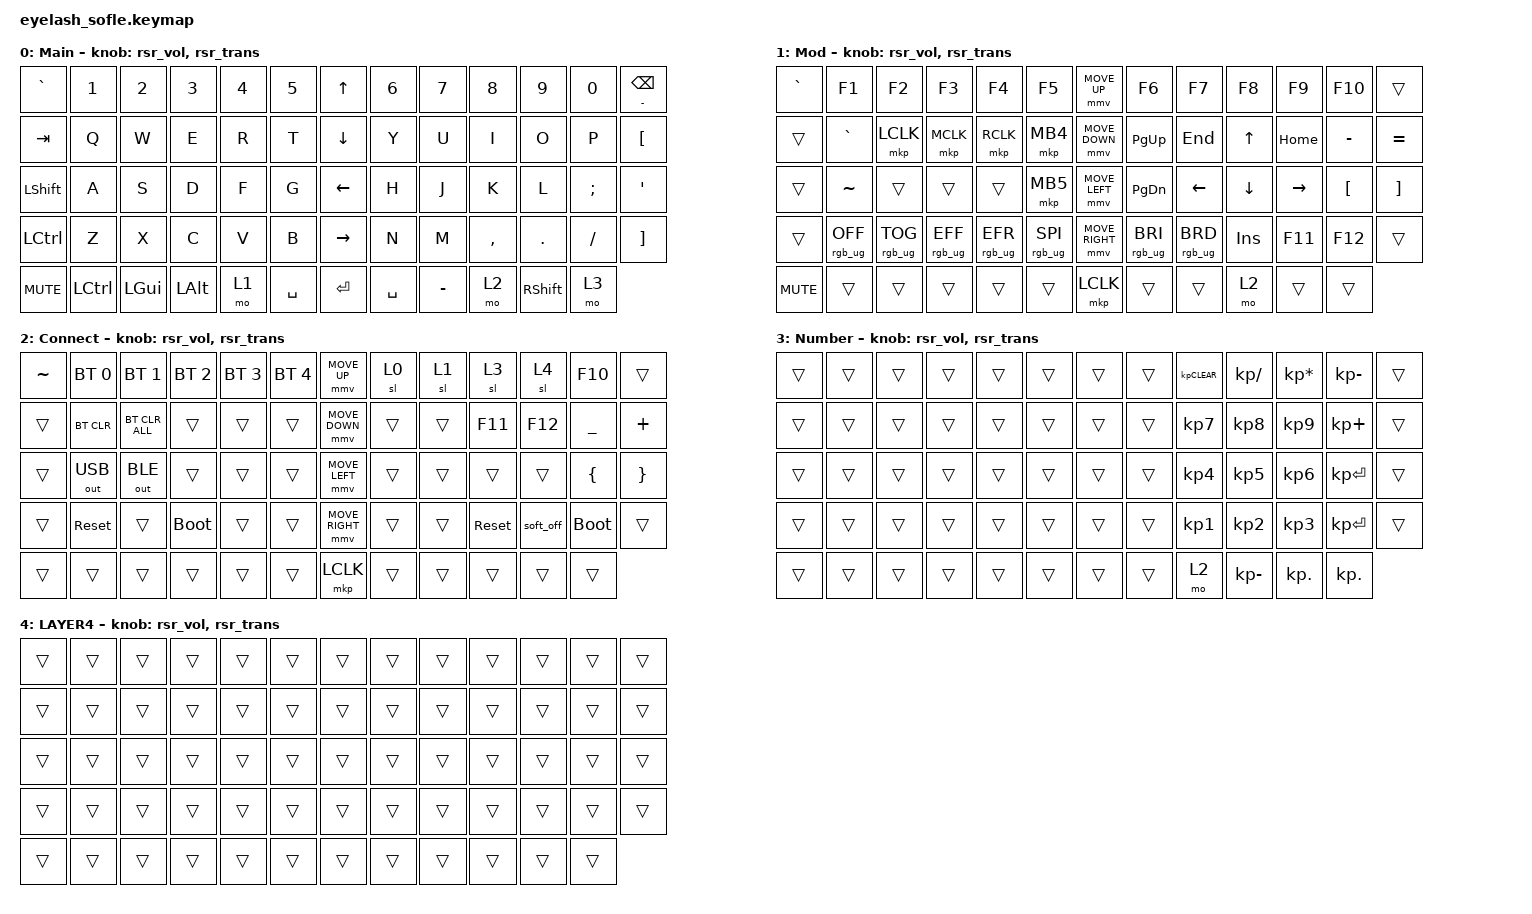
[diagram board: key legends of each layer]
#define ZMK_POINTING_DEFAULT_MOVE_VAL 1200  // 600
#define ZMK_POINTING_DEFAULT_SCRL_VAL 25   // 10

#include <input/processors.dtsi>
#include <zephyr/dt-bindings/input/input-event-codes.h>
#include <behaviors/runtime-sensor-rotate.dtsi>

// Added to support enabling External Power for LEDs

#include <behaviors.dtsi>
#include <dt-bindings/zmk/bt.h>
#include <dt-bindings/zmk/keys.h>
#include <dt-bindings/zmk/outputs.h>
#include <dt-bindings/zmk/pointing.h>
#include <dt-bindings/zmk/rgb.h>

&mmv_input_listener { input-processors = <&zip_xy_scaler 2 1>; };

&msc_input_listener { input-processors = <&zip_scroll_scaler 2 1>; };

&msc {
    acceleration-exponent = <1>;      // 0
    time-to-max-speed-ms = <100>;       // 300
    delay-ms = <0>;                   // 0
};

&mmv {
    time-to-max-speed-ms = <500>;
    acceleration-exponent = <1>;
    trigger-period-ms = <16>;
};

&soft_off { hold-time-ms = <2000>; };

/ {
    scroll_encoder: scroll_encoder {
        compatible = "zmk,behavior-sensor-rotate";
        #sensor-binding-cells = <0>;
        bindings = <&msc SCRL_DOWN>, <&msc SCRL_UP>;

        tap-ms = <100>;
    };

    behaviors {
        rsr_vol: rsr_vol {
            compatible = "zmk,behavior-runtime-sensor-rotate";
            #sensor-binding-cells = <0>;
            tap-ms = <5>;
            cw-binding = <&kp C_VOL_UP>;
            ccw-binding = <&kp C_VOL_DN>;
        };

        rsr_trans: rsr_trans {
            compatible = "zmk,behavior-runtime-sensor-rotate";
            #sensor-binding-cells = <0>;
            tap-ms = <0>;
        };
    };

    combos {
        compatible = "zmk,combos";

        softoff {
            bindings = <&soft_off>;
            key-positions = <14 28 40>;
        };

        Esc {
            bindings = <&kp ESC>;
            key-positions = <0 13>;
        };

        SelectLeft {
            bindings = <&kp LC(LS(LEFT))>;
            key-positions = <39 32>;
        };

        SelectRight {
            bindings = <&kp LS(LC(RIGHT))>;
            key-positions = <39 45>;
        };
    };

    macros {
        SHIFT_MCLK: SHIFT_MCLK {
            compatible = "zmk,behavior-macro";
            #binding-cells = <0>;
            bindings =
                <&macro_press>,
                <&kp LEFT_SHIFT>,
                <&macro_press>,
                <&mkp MB3>,
                <&macro_pause_for_release>,
                <&macro_release>,
                <&kp LEFT_SHIFT &mkp MB3>;

            label = "SHIFT_MCLK";
        };
    };

    keymap {
        compatible = "zmk,keymap";

        Main {
            bindings = <
&kp GRAVE   &kp N1     &kp N2        &kp N3        &kp N4  &kp N5       &kp UP_ARROW     &kp N6     &kp N7     &kp N8     &kp N9           &kp N0    &mt MINUS BACKSPACE
&kp TAB     &kp Q      &kp W         &kp E         &kp R   &kp T        &kp DOWN_ARROW   &kp Y      &kp U      &kp I      &kp O            &kp P     &kp LEFT_BRACKET
&kp LSHFT   &kp A      &kp S         &kp D         &kp F   &kp G        &kp LEFT_ARROW   &kp H      &kp J      &kp K      &kp L            &kp SEMI  &kp APOS
&kp LCTRL   &kp Z      &kp X         &kp C         &kp V   &kp B        &kp RIGHT_ARROW  &kp N      &kp M      &kp COMMA  &kp DOT          &kp FSLH  &kp RIGHT_BRACKET
&kp C_MUTE  &kp LCTRL  &kp LEFT_GUI  &kp LEFT_ALT  &mo 1   &kp SPACE    &kp ENTER        &kp SPACE  &kp MINUS  &mo 2      &kp RIGHT_SHIFT  &mo 3
            >;

            sensor-bindings = <&rsr_vol &rsr_trans>;
            display-name = "Main";
        };

        Mod {
            bindings = <
&kp GRAVE   &kp F1           &kp F2           &kp F3           &kp F4           &kp F5             &mmv MOVE_UP     &kp F6           &kp F7           &kp F8      &kp F9     &kp F10           &trans
&trans      &kp GRAVE        &mkp LCLK        &mkp MCLK        &mkp RCLK        &mkp MB4           &mmv MOVE_DOWN   &kp PG_UP        &kp END          &kp UP      &kp HOME   &kp MINUS         &kp EQUAL
&trans      &kp TILDE        &trans           &trans           &trans           &mkp MB5           &mmv MOVE_LEFT   &kp PG_DN        &kp LEFT         &kp DOWN    &kp RIGHT  &kp LEFT_BRACKET  &kp RIGHT_BRACKET
&trans      &rgb_ug RGB_OFF  &rgb_ug RGB_TOG  &rgb_ug RGB_EFF  &rgb_ug RGB_EFR  &rgb_ug RGB_SPI    &mmv MOVE_RIGHT  &rgb_ug RGB_BRI  &rgb_ug RGB_BRD  &kp INSERT  &kp F11    &kp F12           &trans
&kp C_MUTE  &trans           &trans           &trans           &trans           &trans             &mkp LCLK        &trans           &trans           &mo 2       &trans     &trans
            >;

            sensor-bindings = <&rsr_vol &rsr_trans>;
            display-name = "Mod";
        };

        Connections {
            bindings = <
&kp TILDE  &bt BT_SEL 0  &bt BT_SEL 1    &bt BT_SEL 2  &bt BT_SEL 3  &bt BT_SEL 4    &mmv MOVE_UP     &sl 0   &sl 1   &sl 3       &sl 4      &kp F10      &trans
&trans     &bt BT_CLR    &bt BT_CLR_ALL  &trans        &trans        &trans          &mmv MOVE_DOWN   &trans  &trans  &kp F11     &kp F12    &kp UNDER    &kp PLUS
&trans     &out OUT_USB  &out OUT_BLE    &trans        &trans        &trans          &mmv MOVE_LEFT   &trans  &trans  &trans      &trans     &kp LBRC     &kp RBRC
&trans     &sys_reset    &trans          &bootloader   &trans        &trans          &mmv MOVE_RIGHT  &trans  &trans  &sys_reset  &soft_off  &bootloader  &trans
&trans     &trans        &trans          &trans        &trans        &trans          &mkp LCLK        &trans  &trans  &trans      &trans     &trans
            >;

            display-name = "Connect";
            sensor-bindings = <&rsr_vol &rsr_trans>;
        };

        number {
            bindings = <
&trans  &trans  &trans  &trans  &trans  &trans    &trans  &trans  &kp KP_CLEAR  &kp KP_DIVIDE  &kp KP_ASTERISK  &kp KP_SUBTRACT  &trans
&trans  &trans  &trans  &trans  &trans  &trans    &trans  &trans  &kp KP_N7     &kp KP_N8      &kp KP_N9        &kp KP_PLUS      &trans
&trans  &trans  &trans  &trans  &trans  &trans    &trans  &trans  &kp KP_N4     &kp KP_N5      &kp KP_N6        &kp KP_ENTER     &trans
&trans  &trans  &trans  &trans  &trans  &trans    &trans  &trans  &kp KP_N1     &kp KP_N2      &kp KP_N3        &kp KP_ENTER     &trans
&trans  &trans  &trans  &trans  &trans  &trans    &trans  &trans  &mo 2         &kp KP_MINUS   &kp KP_DOT       &kp KP_DOT
            >;

            display-name = "Number";
            sensor-bindings = <&rsr_vol &rsr_trans>;
        };

        layer_4 {
            bindings = <
&trans  &trans  &trans  &trans  &trans  &trans    &trans  &trans  &trans  &trans  &trans  &trans  &trans
&trans  &trans  &trans  &trans  &trans  &trans    &trans  &trans  &trans  &trans  &trans  &trans  &trans
&trans  &trans  &trans  &trans  &trans  &trans    &trans  &trans  &trans  &trans  &trans  &trans  &trans
&trans  &trans  &trans  &trans  &trans  &trans    &trans  &trans  &trans  &trans  &trans  &trans  &trans
&trans  &trans  &trans  &trans  &trans  &trans    &trans  &trans  &trans  &trans  &trans  &trans
            >;

            display-name = "LAYER4";
            sensor-bindings = <&rsr_vol &rsr_trans>;
        };
    };
};
